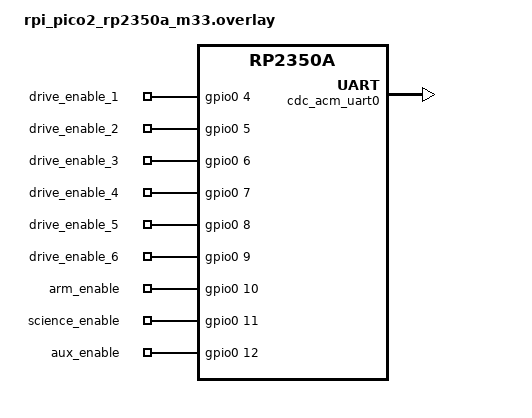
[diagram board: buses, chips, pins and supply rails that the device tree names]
/*
 * Route Zephyr's console and the F Prime byte-stream driver through the
 * Pico 2's USB device controller. Without this overlay, zephyr,console is
 * uart0 on GPIO 0/1 and the board does not enumerate as a USB serial port.
 */

#include <zephyr/dt-bindings/gpio/gpio.h>
#include <zephyr/dt-bindings/pinctrl/rpi-pico-rp2350a-pinctrl.h>

/ {
    chosen {
        zephyr,console = &cdc_acm_uart0;
    };

    /*
     * Native RP2350 power-enable outputs per the PDB GPIO map (Rev G):
     * GPIO4-9 drivetrain, GPIO10 arm, GPIO11 science, GPIO12 aux. All
     * active-high, all must come up inactive/low.
     */
    billee-gpio-outputs {
        compatible = "gpio-leds";

        drive_enable_1: drive-enable-1 { gpios = <&gpio0 4 GPIO_ACTIVE_HIGH>; };
        drive_enable_2: drive-enable-2 { gpios = <&gpio0 5 GPIO_ACTIVE_HIGH>; };
        drive_enable_3: drive-enable-3 { gpios = <&gpio0 6 GPIO_ACTIVE_HIGH>; };
        drive_enable_4: drive-enable-4 { gpios = <&gpio0 7 GPIO_ACTIVE_HIGH>; };
        drive_enable_5: drive-enable-5 { gpios = <&gpio0 8 GPIO_ACTIVE_HIGH>; };
        drive_enable_6: drive-enable-6 { gpios = <&gpio0 9 GPIO_ACTIVE_HIGH>; };
        arm_enable: arm-enable { gpios = <&gpio0 10 GPIO_ACTIVE_HIGH>; };
        science_enable: science-enable { gpios = <&gpio0 11 GPIO_ACTIVE_HIGH>; };
        aux_enable: aux-enable { gpios = <&gpio0 12 GPIO_ACTIVE_HIGH>; };
    };
};

&zephyr_udc0 {
    cdc_acm_uart0: cdc_acm_uart0 {
        compatible = "zephyr,cdc-acm-uart";
    };
};

/*
 * uart0 defaults to GPIO0/1 (TX/RX), which conflicts with I2C0 below.
 * The board console and F Prime GDS transport both run over the USB CDC
 * ACM device above, so the hardware UART0 peripheral is unused.
 */
&uart0 {
    status = "disabled";
};

/*
 * Per the PDB GPIO map (Rev G): I2C0 (high-current telemetry bus, INA780x
 * via TCA4307) on GPIO0/1, I2C1 (logic/temp telemetry bus, MCP9808 via
 * TCA4307) on GPIO2/3. Both buses are enabled here at the devicetree level;
 * no F Prime I2C driver/component is wired to them yet.
 */
&i2c0_default {
    group1 {
        pinmux = <I2C0_SDA_P0>, <I2C0_SCL_P1>;
        input-enable;
        input-schmitt-enable;
    };
};

&i2c1_default {
    group1 {
        pinmux = <I2C1_SDA_P2>, <I2C1_SCL_P3>;
        input-enable;
        input-schmitt-enable;
    };
};
